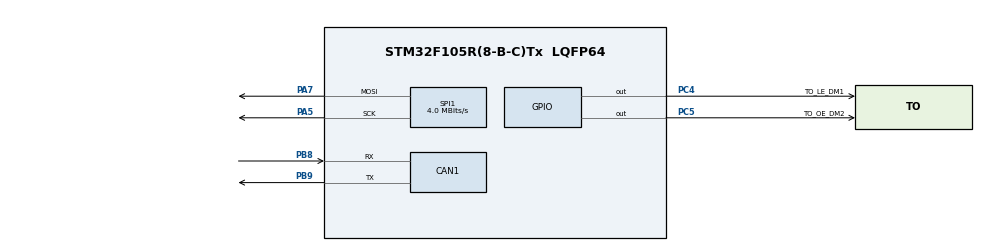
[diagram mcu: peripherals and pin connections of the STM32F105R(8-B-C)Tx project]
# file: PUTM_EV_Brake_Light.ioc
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Mcu.Family=STM32F1
PA7.Mode=TX_Only_Simplex_Unidirect_Master
SPI1.VirtualType=VM_MASTER
PC4.Signal=GPIO_Output
VP_SYS_VS_ND.Mode=No_Debug
ProjectManager.StackSize=0x400
ProjectManager.TargetToolchain=STM32CubeIDE
SPI1.Direction=SPI_DIRECTION_2LINES
PB9.Mode=Master
SPI1.CalculateBaudRate=4.0 MBits/s
RCC.USBFreq_Value=10666666.666666666
PA5.Signal=SPI1_SCK
board=custom
PC4.GPIO_Label=TO_LE_DM1
SPI1.Mode=SPI_MODE_MASTER
Mcu.Name=STM32F105R(8-B-C)Tx
PB9.Signal=CAN1_TX
Mcu.Package=LQFP64
PC5.GPIO_Label=TO_OE_DM2
ProjectManager.HeapSize=0x200
NVIC.PriorityGroup=NVIC_PRIORITYGROUP_4
PB8.Mode=Master
PB8.Signal=CAN1_RX
PC5.Signal=GPIO_Output
CAN1.CalculateTimeBit=6000
NVIC.CAN1_RX0_IRQn=true\:0\:0\:false\:false\:true\:true\:true
CAN1.CalculateTimeQuantum=2000.0
PA5.Mode=TX_Only_Simplex_Unidirect_Master
PA7.Signal=SPI1_MOSI

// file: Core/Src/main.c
/* USER CODE BEGIN Header */
/**
  ******************************************************************************
  * @file           : main.c
  * @brief          : Main program body
  ******************************************************************************
  * @attention
  *
  * <h2><center>&copy; Copyright (c) 2020 STMicroelectronics.
  * All rights reserved.</center></h2>
  *
  * This software component is licensed by ST under BSD 3-Clause license,
  * the "License"; You may not use this file except in compliance with the
  * License. You may obtain a copy of the License at:
  *                        opensource.org/licenses/BSD-3-Clause
  *
  ******************************************************************************
  */
/* USER CODE END Header */
#include "main.h"

/* USER CODE BEGIN Includes */
#include "brake_light.h"

/* USER CODE END Includes */

CAN_HandleTypeDef hcan1;

SPI_HandleTypeDef hspi1;

/* USER CODE BEGIN PV */
CAN_FilterTypeDef sFilterConfig;
CAN_RxHeaderTypeDef RxHeader;
uint8_t RxData[8];
/* USER CODE END PV */

void SystemClock_Config(void);
static void MX_GPIO_Init(void);
static void MX_CAN1_Init(void);
static void MX_SPI1_Init(void);

int main(void)
{

  /* MCU Configuration--------------------------------------------------------*/

  /* Reset of all peripherals, Initializes the Flash interface and the Systick. */
  HAL_Init();

  /* Configure the system clock */
  SystemClock_Config();

  /* Initialize all configured peripherals */
  MX_GPIO_Init();
  MX_CAN1_Init();
  MX_SPI1_Init();
  /* USER CODE BEGIN 2 */

  sFilterConfig.FilterBank = 0;
  sFilterConfig.FilterMode = CAN_FILTERMODE_IDMASK;
  sFilterConfig.FilterScale = CAN_FILTERSCALE_32BIT;
  sFilterConfig.FilterIdHigh = 0x0000;
  sFilterConfig.FilterIdLow = 0x0000;
  sFilterConfig.FilterMaskIdHigh = 0x0000;
  sFilterConfig.FilterMaskIdLow = 0x0000;
  sFilterConfig.FilterFIFOAssignment = CAN_RX_FIFO0;
  sFilterConfig.FilterActivation = ENABLE;
  sFilterConfig.SlaveStartFilterBank = 14;

  if (HAL_CAN_ConfigFilter(&hcan1, &sFilterConfig) != HAL_OK)
  {
	  Error_Handler();
  }

  if (HAL_CAN_Start(&hcan1) != HAL_OK)
  {
	  Error_Handler();
  }

  if (HAL_CAN_ActivateNotification(&hcan1, CAN_IT_RX_FIFO0_MSG_PENDING | CAN_IT_TX_MAILBOX_EMPTY) != HAL_OK)
  {
	  Error_Handler();
  }

  HAL_GPIO_WritePin(TO_OE_DM2_GPIO_Port, TO_OE_DM2_Pin, 1);
  if (light_off()){
	  Error_Handler();
  }
  HAL_GPIO_WritePin(TO_OE_DM2_GPIO_Port, TO_OE_DM2_Pin, 1);

  /* USER CODE END 2 */

  /* Infinite loop */
  while (1)
  {

  }
}

void SystemClock_Config(void)
{
  RCC_OscInitTypeDef RCC_OscInitStruct = {0};
  RCC_ClkInitTypeDef RCC_ClkInitStruct = {0};

  /** Initializes the RCC Oscillators according to the specified parameters
  * in the RCC_OscInitTypeDef structure.
  */
  RCC_OscInitStruct.OscillatorType = RCC_OSCILLATORTYPE_HSI;
  RCC_OscInitStruct.HSIState = RCC_HSI_ON;
  RCC_OscInitStruct.HSICalibrationValue = RCC_HSICALIBRATION_DEFAULT;
  RCC_OscInitStruct.PLL.PLLState = RCC_PLL_NONE;
  RCC_OscInitStruct.PLL2.PLL2State = RCC_PLL_NONE;
  if (HAL_RCC_OscConfig(&RCC_OscInitStruct) != HAL_OK)
  {
    Error_Handler();
  }
  /** Initializes the CPU, AHB and APB buses clocks
  */
  RCC_ClkInitStruct.ClockType = RCC_CLOCKTYPE_HCLK|RCC_CLOCKTYPE_SYSCLK
                              |RCC_CLOCKTYPE_PCLK1|RCC_CLOCKTYPE_PCLK2;
  RCC_ClkInitStruct.SYSCLKSource = RCC_SYSCLKSOURCE_HSI;
  RCC_ClkInitStruct.AHBCLKDivider = RCC_SYSCLK_DIV1;
  RCC_ClkInitStruct.APB1CLKDivider = RCC_HCLK_DIV1;
  RCC_ClkInitStruct.APB2CLKDivider = RCC_HCLK_DIV1;

  if (HAL_RCC_ClockConfig(&RCC_ClkInitStruct, FLASH_LATENCY_0) != HAL_OK)
  {
    Error_Handler();
  }
  /** Configure the Systick interrupt time
  */
  __HAL_RCC_PLLI2S_ENABLE();
}

static void MX_CAN1_Init(void)
{

  hcan1.Instance = CAN1;
  hcan1.Init.Prescaler = 16;
  hcan1.Init.Mode = CAN_MODE_NORMAL;
  hcan1.Init.SyncJumpWidth = CAN_SJW_1TQ;
  hcan1.Init.TimeSeg1 = CAN_BS1_1TQ;
  hcan1.Init.TimeSeg2 = CAN_BS2_1TQ;
  hcan1.Init.TimeTriggeredMode = DISABLE;
  hcan1.Init.AutoBusOff = DISABLE;
  hcan1.Init.AutoWakeUp = DISABLE;
  hcan1.Init.AutoRetransmission = DISABLE;
  hcan1.Init.ReceiveFifoLocked = DISABLE;
  hcan1.Init.TransmitFifoPriority = DISABLE;
  if (HAL_CAN_Init(&hcan1) != HAL_OK)
  {
    Error_Handler();
  }

}

static void MX_SPI1_Init(void)
{

  /* SPI1 parameter configuration*/
  hspi1.Instance = SPI1;
  hspi1.Init.Mode = SPI_MODE_MASTER;
  hspi1.Init.Direction = SPI_DIRECTION_2LINES;
  hspi1.Init.DataSize = SPI_DATASIZE_8BIT;
  hspi1.Init.CLKPolarity = SPI_POLARITY_LOW;
  hspi1.Init.CLKPhase = SPI_PHASE_1EDGE;
  hspi1.Init.NSS = SPI_NSS_SOFT;
  hspi1.Init.BaudRatePrescaler = SPI_BAUDRATEPRESCALER_2;
  hspi1.Init.FirstBit = SPI_FIRSTBIT_MSB;
  hspi1.Init.TIMode = SPI_TIMODE_DISABLE;
  hspi1.Init.CRCCalculation = SPI_CRCCALCULATION_DISABLE;
  hspi1.Init.CRCPolynomial = 10;
  if (HAL_SPI_Init(&hspi1) != HAL_OK)
  {
    Error_Handler();
  }

}

static void MX_GPIO_Init(void)
{
  GPIO_InitTypeDef GPIO_InitStruct = {0};

  /* GPIO Ports Clock Enable */
  __HAL_RCC_GPIOA_CLK_ENABLE();
  __HAL_RCC_GPIOC_CLK_ENABLE();
  __HAL_RCC_GPIOB_CLK_ENABLE();

  /*Configure GPIO pin Output Level */
  HAL_GPIO_WritePin(GPIOC, TO_LE_DM1_Pin|TO_OE_DM2_Pin, GPIO_PIN_RESET);

  /*Configure GPIO pins : TO_LE_DM1_Pin TO_OE_DM2_Pin */
  GPIO_InitStruct.Pin = TO_LE_DM1_Pin|TO_OE_DM2_Pin;
  GPIO_InitStruct.Mode = GPIO_MODE_OUTPUT_PP;
  GPIO_InitStruct.Pull = GPIO_NOPULL;
  GPIO_InitStruct.Speed = GPIO_SPEED_FREQ_LOW;
  HAL_GPIO_Init(GPIOC, &GPIO_InitStruct);

}

void Error_Handler(void)
{
}

/************************ (C) COPYRIGHT STMicroelectronics *****END OF FILE****/
